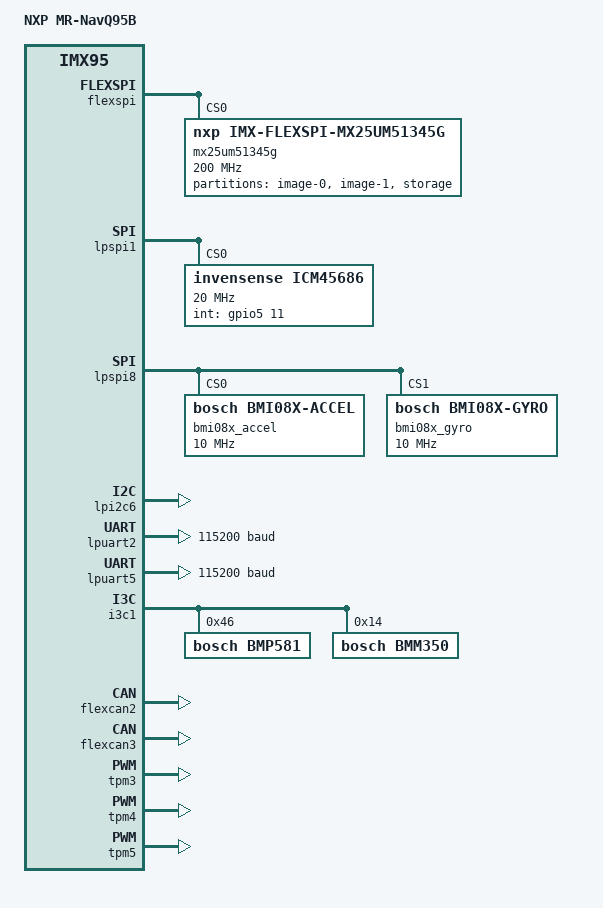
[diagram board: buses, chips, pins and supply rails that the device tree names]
/*
 * Copyright 2025 NXP
 *
 * SPDX-License-Identifier: Apache-2.0
 */

/dts-v1/;

#include <nxp/nxp_imx95_m7.dtsi>
#include <zephyr/dt-bindings/pwm/pwm.h>
#include "mr_navq95b-pinctrl.dtsi"
#include <zephyr/dt-bindings/sensor/icm45686.h>

/ {
	model = "NXP MR-NavQ95B";
	compatible = "nxp,navq95";

	chosen {
		/* TCM */
		zephyr,flash = &itcm;
		zephyr,sram = &dtcm;

		zephyr,flash-controller = &mx25um51345g;
		zephyr,console = &lpuart2;
		zephyr,shell-uart = &lpuart2;
		zephyr,canbus = &flexcan2;
	};
};

&gpio2 {
	status = "okay";
	irq-output-select = <1>;
};

&gpio5 {
	status = "okay";
	irq-output-select = <1>;
};

&flexspi {
	status = "okay";
	ahb-prefetch;
	ahb-read-addr-opt;
	ahb-bufferable;
	ahb-cacheable;
	rx-clock-source = <1>;
	pinctrl-0 = <&flexspi_default>;
	pinctrl-names = "default";
	mx25um51345g: mx25um51345g@0 {
		compatible = "nxp,imx-flexspi-mx25um51345g";
		/* MX25UM51345G is 64MB, 512MBit flash part */
		size = <DT_SIZE_M(64*8)>;
		reg = <0>;
		spi-max-frequency = <200000000>;
		status = "okay";
		jedec-id = [c2 81 3a];
		erase-block-size = <4096>;
		write-block-size = <2>;
		cs-interval = <2>;

		partitions {
			compatible = "fixed-partitions";
			#address-cells = <1>;
			#size-cells = <1>;

			/*
			 * Partition sizes must be aligned
			 * to the flash memory sector size of 4KB.
			 * 
			 * boot_partition is left out since that will
			 * run from ITCM
			 */
			slot0_partition: partition@0 {
				label = "image-0";
				reg = <0x00000000 DT_SIZE_M(7)>;
			};
			slot1_partition: partition@700000 {
				label = "image-1";
				reg = <0x00700000 DT_SIZE_M(7)>;
			};
			storage_partition: partition@E00000 {
				label = "storage";
				reg = <0x00E00000 DT_SIZE_M(2)>;
			};
		};
	};
};

&lpspi1 {
	pinctrl-0 = <&lpspi1_default>;
	pinctrl-names = "default";
	status = "okay";
	/* cs-gpios =<&gpio1 11 GPIO_ACTIVE_LOW>; */

	icm45686: icm45686@0 {
		compatible = "invensense,icm45686";
		reg = <0>;
		int-gpios = <&gpio5 11 GPIO_ACTIVE_HIGH>;
		spi-max-frequency = <DT_FREQ_M(20)>;
		spi-cs-setup-delay-ns = <50>;
		spi-cs-hold-delay-ns = <50>;
		spi-interframe-delay-ns = <50>;
		accel-pwr-mode = <ICM45686_DT_ACCEL_LN>;
		accel-fs = <ICM45686_DT_ACCEL_FS_2>;
		accel-odr = <ICM45686_DT_ACCEL_ODR_400>;
		accel-lpf = <ICM45686_DT_ACCEL_LPF_BW_1_32>;
		gyro-pwr-mode = <ICM45686_DT_GYRO_LN>;
		gyro-fs = <ICM45686_DT_GYRO_FS_4000>;
		gyro-odr = <ICM45686_DT_GYRO_ODR_400>;
		gyro-lpf = <ICM45686_DT_GYRO_LPF_BW_1_32>;

		fifo-watermark = <1>;
	};
};

&lpspi8 {
	pinctrl-0 = <&lpspi8_default>;
	pinctrl-names = "default";
	status = "okay";

	bmi08x_accel: bmi08x@0 {
		compatible = "bosch,bmi08x-accel";
		reg = <0>;
		/* int-gpios = <&gpio3 20 GPIO_ACTIVE_HIGH>; */ // TODO
		spi-max-frequency = <DT_FREQ_M(10)>;
		spi-cs-setup-delay-ns = <50>;
		spi-cs-hold-delay-ns = <50>;
		spi-interframe-delay-ns = <50>;
		int1-map-io = <0x01>;
		int2-map-io = <0x00>;
		int1-conf-io = <0x04>;
		int2-conf-io = <0x00>;
		accel-hz = "800";
		accel-fs = <24>;
	};

	bmi08x_gyro: bmi08x@1 {
		compatible = "bosch,bmi08x-gyro";
		reg = <1>;
		/* int-gpios = <&gpio2 28 GPIO_ACTIVE_HIGH>; */ // TODO
		spi-max-frequency = <DT_FREQ_M(10)>;
		spi-cs-setup-delay-ns = <50>;
		spi-cs-hold-delay-ns = <50>;
		spi-interframe-delay-ns = <50>;
		int3-4-map-io = <0x01>;
		int3-4-conf-io = <0x02>;
		gyro-hz = "1000_116";
		gyro-fs = <1000>;
	};
};

// &lpi2c4 {
// 	status = "okay";
// 	pinctrl-0 = <&lpi2c4_default>;
// 	pinctrl-names = "default";
// };

&lpi2c6 {
	status = "okay";
	pinctrl-0 = <&lpi2c6_default>;
	pinctrl-names = "default";
};

&lpuart2 {
	status = "okay";
	current-speed = <115200>;
	pinctrl-0 = <&lpuart2_default>;
	pinctrl-names = "default";
};

&lpuart5 {
	status = "okay";
	current-speed = <115200>;
	pinctrl-0 = <&lpuart5_default>;
	pinctrl-names = "default";
};

&i3c1 {
	pinctrl-0 = <&i3c1_default>;
	pinctrl-names = "default";
	status = "okay";
	i2c-scl-hz = <400000>;

	bmp581: bmp581@460000000000000050  {
		compatible = "bosch,bmp581";
		reg = <0x46 0x0 0x50>;
	};

	bmm350: bmm350@140000000000000050  {
		compatible = "bosch,bmm350";
		reg = <0x14 0x0 0x50>;
	};
};

&flexcan2 {
	pinctrl-0 = <&flexcan2_default>;
	pinctrl-names = "default";
	status = "okay";
};

&flexcan3 {
	pinctrl-0 = <&flexcan3_default>;
	pinctrl-names = "default";
	status = "okay";
};

&tpm3 {
	status = "okay";
	pinctrl-0 = <&tpm3_pwm1_pwm2_pwm3>;
	pinctrl-names = "default";
};

&tpm4 {
	status = "okay";
	pinctrl-0 = <&tpm4_pwm4_pwm5>;
	pinctrl-names = "default";
};

&tpm5 {
	status = "okay";
	pinctrl-0 = <&tpm5_pwm6_pwm7>;
	pinctrl-names = "default";
};

//TODO TPM6 buzzer
